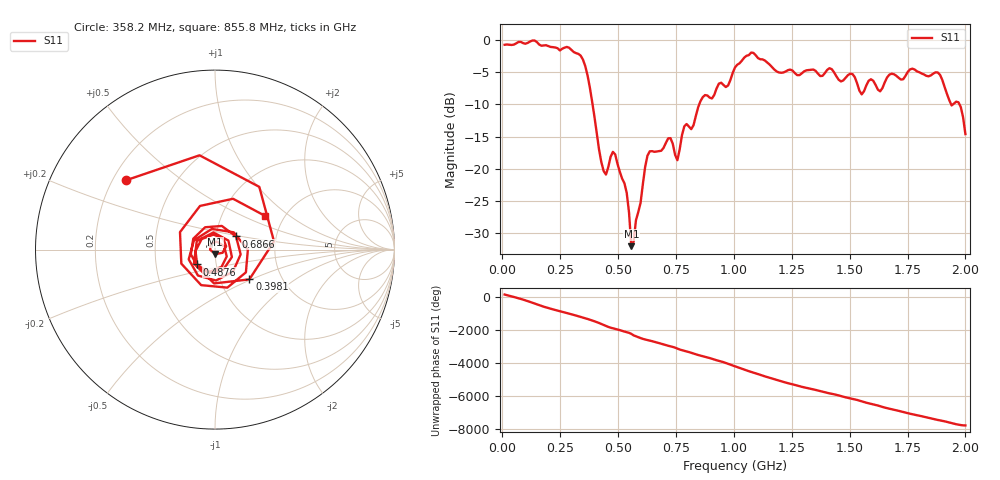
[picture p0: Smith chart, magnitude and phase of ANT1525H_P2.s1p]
!Created with skrf (http://scikit-rf.org).
# Hz S RI R 50.0
!freq ReS11 ImS11
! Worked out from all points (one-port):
!   201 points, 10 MHz to 2 GHz, reference 50 ohm
!   lowest |S11| = -32.1 dB at 557.2 MHz (marker M1), VSWR 1.05, Z = 50.1 - j2.5 ohm
!   |S11| at or under -10 dB: 389.9 MHz to 850.4 MHz (460.6 MHz wide, 74.3 % of centre); 1.93852 GHz to 1.945613 GHz (7.093 MHz wide, 0.365 % of centre); 1.975 GHz to end of sweep
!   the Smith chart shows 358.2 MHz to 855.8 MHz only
!   S11 on the Smith chart (normalised r, x): 358.2 MHz: 0.25, +0.32; 398.1 MHz: 1.37, -0.49; 487.6 MHz: 0.81, -0.14; 686.6 MHz: 1.25, +0.19; 855.8 MHz: 1.59, +0.68
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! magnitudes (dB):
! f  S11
! 10 MHz  -0.7
! 258.8 MHz  -1.3
! 358.2 MHz  -4.0
! 398.1 MHz  -11.9
! 437.9 MHz  -20.4
! 487.6 MHz  -17.8
! 507.5 MHz  -20.5
! 537.4 MHz  -23.8
! 557.2 MHz  -32.1
! 626.9 MHz  -18.0
! 686.6 MHz  -17.2
! 726.4 MHz  -15.2
! 756.2 MHz  -18.7
! 786.1 MHz  -13.4
! 816 MHz  -13.8
! 855.8 MHz  -9.5
! 975.1 MHz  -7.0
! 1.005 GHz  -4.2
! 1.075 GHz  -1.9
! 1.254 GHz  -4.7
! 1.502 GHz  -5.2
! 1.552 GHz  -8.4
! 1.592 GHz  -6.1
! 1.751 GHz  -4.9
! 1.891 GHz  -5.4
! 1.94 GHz  -10.1
! 1.98 GHz  -10.4
! 2 GHz  -14.6
